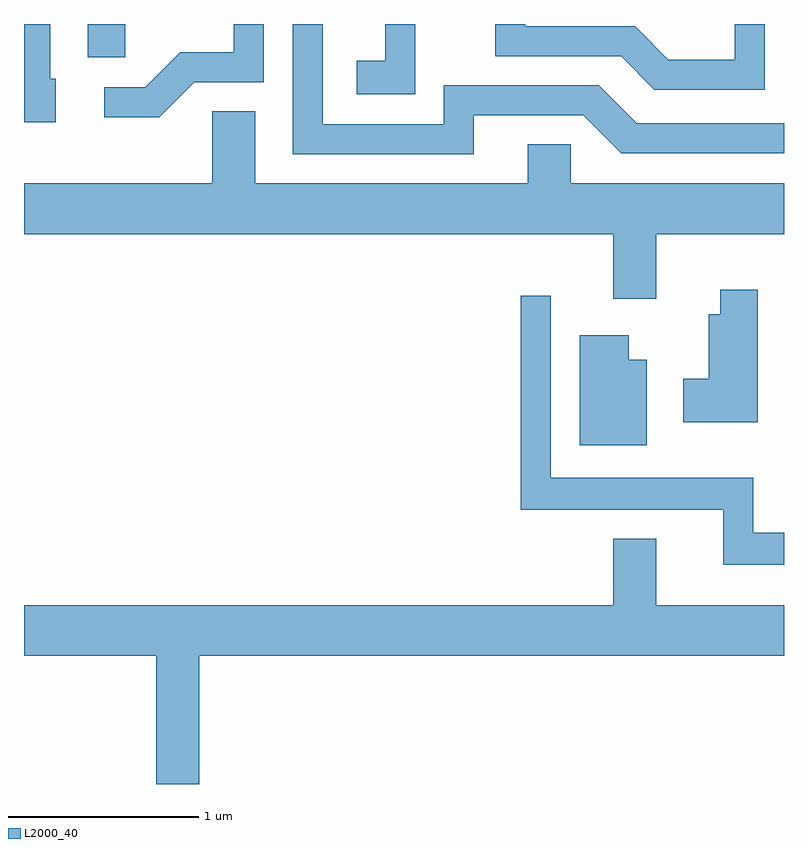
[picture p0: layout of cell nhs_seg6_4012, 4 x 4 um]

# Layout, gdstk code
import gdstk
lib = gdstk.Library(unit=1e-6, precision=1e-09)
def R(c, l, rs):  # rectangles x0, y0, x1, y1
    for r in rs: c.add(gdstk.rectangle(r[:2], r[2:], *l))
def P(c, l, *ps):  # polygons
    for p in ps: c.add(gdstk.Polygon(p, *l))
L2000_40 = (2000, 40)

nhs_seg6_4012 = lib.new_cell('nhs_seg6_4012')
R(nhs_seg6_4012, L2000_40, [(305.946,1641.986,306.144,1642.162)])
P(nhs_seg6_4012, L2000_40, [(305.779,1641.874),(305.749,1641.874),(305.749,1642.162),(305.611,1642.162),(305.611,1641.646),(305.779,1641.646)],
  [(307.979,1641.681),(308.554,1641.681),(308.754,1641.481),(309.611,1641.481),(309.611,1641.639),(308.837,1641.639),(308.637,1641.839),(307.821,1641.839),(307.821,1641.634),(307.184,1641.634),(307.184,1642.162),(307.026,1642.162),(307.026,1641.476),(307.979,1641.476)],
  [(309.509,1642.162),(309.351,1642.162),(309.351,1641.974),(309.002,1641.974),(308.827,1642.149),(308.249,1642.149),(308.249,1642.162),(308.091,1642.162),(308.091,1641.991),(308.754,1641.991),(308.929,1641.816),(309.509,1641.816)],
  [(306.507,1641.856),(306.874,1641.856),(306.874,1642.162),(306.716,1642.162),(306.716,1642.014),(306.434,1642.014),(306.249,1641.829),(306.033,1641.829),(306.033,1641.671),(306.322,1641.671)],
  [(307.669,1642.162),(307.511,1642.162),(307.511,1641.969),(307.361,1641.969),(307.361,1641.791),(307.669,1641.791)],
  [(308.939,1641.056),(309.611,1641.056),(309.611,1641.324),(308.489,1641.324),(308.489,1641.529),(308.261,1641.529),(308.261,1641.324),(306.829,1641.324),(306.829,1641.704),(306.601,1641.704),(306.601,1641.324),(305.611,1641.324),(305.611,1641.056),(308.711,1641.056),(308.711,1640.716),(308.939,1640.716)],
  [(309.474,1640.764),(309.276,1640.764),(309.276,1640.634),(309.216,1640.634),(309.216,1640.294),(309.081,1640.294),(309.081,1640.066),(309.474,1640.066)],
  [(309.611,1639.484),(309.449,1639.484),(309.449,1639.774),(308.384,1639.774),(308.384,1640.733),(308.226,1640.733),(308.226,1639.606),(309.291,1639.606),(309.291,1639.316),(309.611,1639.316)],
  [(308.889,1640.394),(308.794,1640.394),(308.794,1640.524),(308.536,1640.524),(308.536,1639.946),(308.889,1639.946)],
  [(306.534,1638.836),(309.611,1638.836),(309.611,1639.104),(308.939,1639.104),(308.939,1639.454),(308.711,1639.454),(308.711,1639.104),(305.611,1639.104),(305.611,1638.836),(306.306,1638.836),(306.306,1638.162),(306.534,1638.162)])

lib.write_gds('nhs_seg6_4012.gds')
